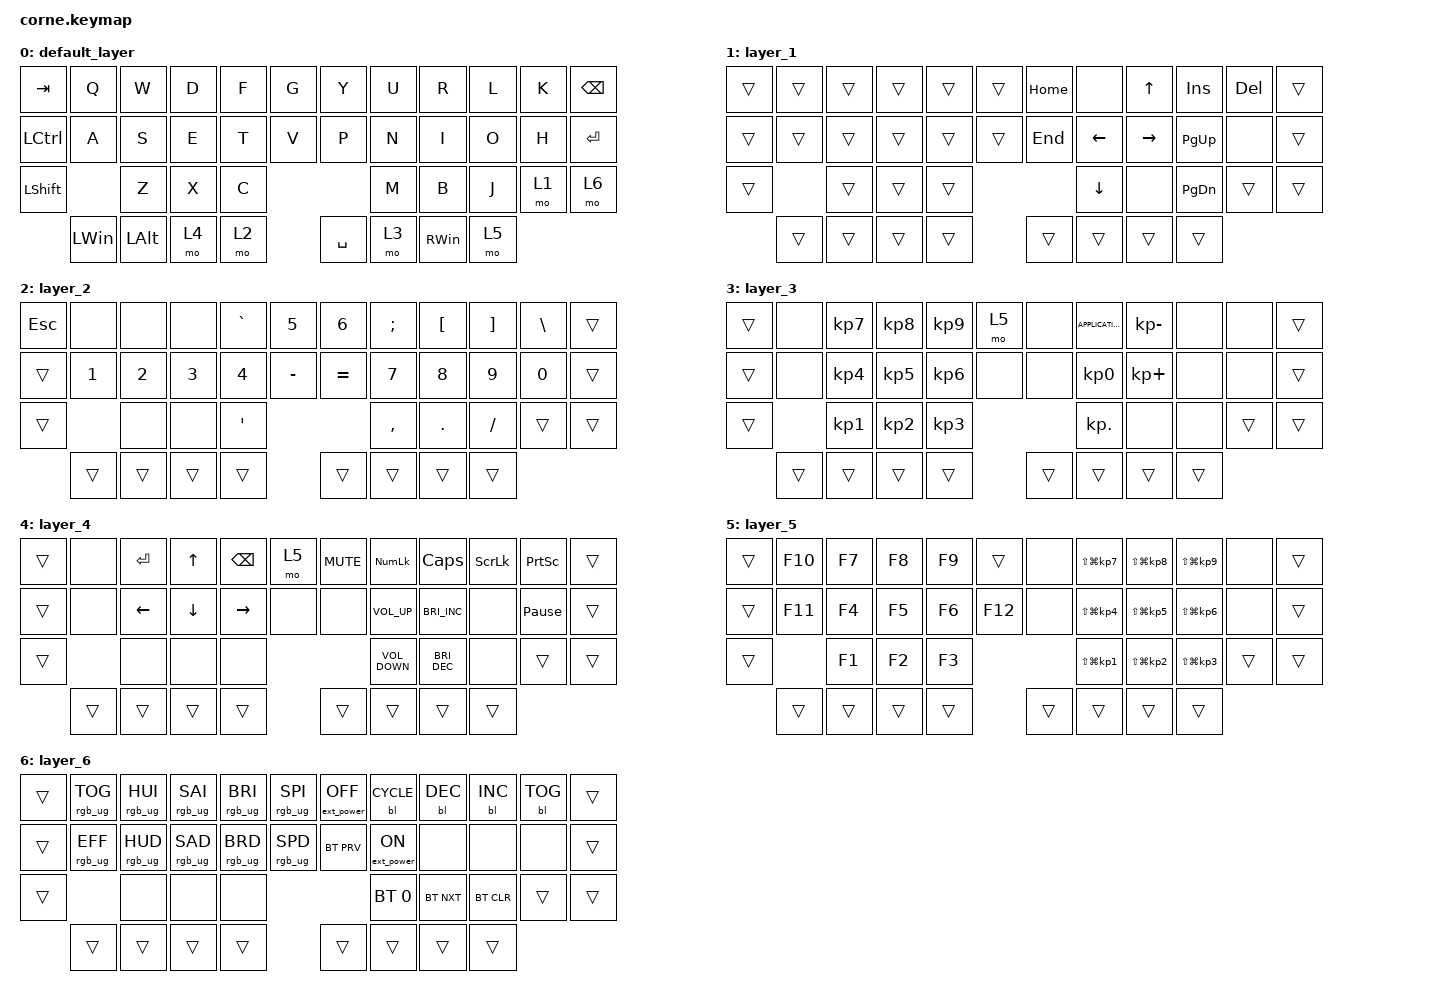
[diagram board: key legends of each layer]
/*
 * Copyright (c) 2023 The ZMK Contributors
 *
 * SPDX-License-Identifier: MIT
 */

#include <behaviors.dtsi>
#include <dt-bindings/zmk/backlight.h>
#include <dt-bindings/zmk/bt.h>
#include <dt-bindings/zmk/ext_power.h>
#include <dt-bindings/zmk/keys.h>
#include <dt-bindings/zmk/rgb.h>

/ {
    macros {
    };

    keymap {
        compatible = "zmk,keymap";

        default_layer {
            bindings = <
   &kp TAB  &kp Q         &kp W     &kp D  &kp F  &kp G      &kp Y  &kp U          &kp R  &kp L  &kp K  &kp BSPC
 &kp LCTRL  &kp A         &kp S     &kp E  &kp T  &kp V      &kp P  &kp N          &kp I  &kp O  &kp H   &kp RET
&kp LSHIFT                &kp Z     &kp X  &kp C                    &kp M          &kp B  &kp J  &mo 1     &mo 6
                   &kp LEFT_WIN  &kp LALT  &mo 4  &mo 2  &kp SPACE  &mo 3  &kp RIGHT_WIN  &mo 5
            >;
        };

        layer_1 {
            bindings = <
&trans  &trans  &trans  &trans  &trans  &trans  &kp HOME           &none           &kp UP        &kp INS  &kp DEL  &trans
&trans  &trans  &trans  &trans  &trans  &trans   &kp END  &kp LEFT_ARROW  &kp RIGHT_ARROW    &kp PAGE_UP    &none  &trans
&trans          &trans  &trans  &trans                    &kp DOWN_ARROW            &none  &kp PAGE_DOWN   &trans  &trans
                &trans  &trans  &trans  &trans    &trans          &trans           &trans         &trans
            >;
        };

        layer_2 {
            bindings = <
&kp ESC         &none         &none         &none         &kp GRAVE     &kp N5     &kp N6  &kp SEMICOLON  &kp LEFT_BRACKET  &kp RIGHT_BRACKET  &kp BACKSLASH  &trans
 &trans  &kp NUMBER_1  &kp NUMBER_2  &kp NUMBER_3      &kp NUMBER_4  &kp MINUS  &kp EQUAL   &kp NUMBER_7      &kp NUMBER_8       &kp NUMBER_9   &kp NUMBER_0  &trans
 &trans                       &none         &none  &kp SINGLE_QUOTE                            &kp COMMA           &kp DOT          &kp SLASH         &trans  &trans
                             &trans        &trans            &trans     &trans     &trans         &trans            &trans             &trans
            >;
        };

        layer_3 {
            bindings = <
&trans  &none  &kp KP_NUMBER_7  &kp KP_NUMBER_8  &kp KP_NUMBER_9   &mo 5   &none  &kp K_APPLICATION  &kp KP_MINUS   &none   &none  &trans
&trans  &none  &kp KP_NUMBER_4  &kp KP_NUMBER_5  &kp KP_NUMBER_6   &none   &none    &kp KP_NUMBER_0   &kp KP_PLUS   &none   &none  &trans
&trans         &kp KP_NUMBER_1  &kp KP_NUMBER_2  &kp KP_NUMBER_3                         &kp KP_DOT         &none   &none  &trans  &trans
                        &trans           &trans           &trans  &trans  &trans             &trans        &trans  &trans
            >;
        };

        layer_4 {
            bindings = <
&trans  &none       &kp ENTER    &kp UP_ARROW    &kp BACKSPACE   &mo 5  &kp C_MUTE     &kp KP_NUMLOCK          &kp CAPSLOCK  &kp SCROLLLOCK  &kp PRINTSCREEN  &trans
&trans  &none  &kp LEFT_ARROW  &kp DOWN_ARROW  &kp RIGHT_ARROW   &none       &none    &kp C_VOLUME_UP  &kp C_BRIGHTNESS_INC           &none  &kp PAUSE_BREAK  &trans
&trans                  &none           &none            &none                      &kp C_VOLUME_DOWN  &kp C_BRIGHTNESS_DEC           &none           &trans  &trans
                       &trans          &trans           &trans  &trans      &trans             &trans                &trans          &trans
            >;
        };

        layer_5 {
            bindings = <
&trans  &kp F10  &kp F7  &kp F8  &kp F9   &trans   &none  &kp LS(LG(KP_NUMBER_7))  &kp LS(LG(KP_NUMBER_8))  &kp LS(LG(KP_NUMBER_9))   &none  &trans
&trans  &kp F11  &kp F4  &kp F5  &kp F6  &kp F12   &none  &kp LS(LG(KP_NUMBER_4))  &kp LS(LG(KP_NUMBER_5))  &kp LS(LG(KP_NUMBER_6))   &none  &trans
&trans           &kp F1  &kp F2  &kp F3                   &kp LS(LG(KP_NUMBER_1))  &kp LS(LG(KP_NUMBER_2))  &kp LS(LG(KP_NUMBER_3))  &trans  &trans
                 &trans  &trans  &trans   &trans  &trans                   &trans                   &trans                   &trans
            >;
        };

        layer_6 {
            bindings = <
&trans  &rgb_ug RGB_TOG  &rgb_ug RGB_HUI  &rgb_ug RGB_SAI  &rgb_ug RGB_BRI  &rgb_ug RGB_SPI  &ext_power EP_OFF      &bl BL_CYCLE  &bl BL_DEC  &bl BL_INC  &bl BL_TOG  &trans
&trans  &rgb_ug RGB_EFF  &rgb_ug RGB_HUD  &rgb_ug RGB_SAD  &rgb_ug RGB_BRD  &rgb_ug RGB_SPD         &bt BT_PRV  &ext_power EP_ON       &none       &none       &none  &trans
&trans                             &none            &none            &none                                          &bt BT_SEL 0  &bt BT_NXT  &bt BT_CLR      &trans  &trans
                                  &trans           &trans           &trans           &trans             &trans            &trans      &trans      &trans
            >;
        };
    };
};
